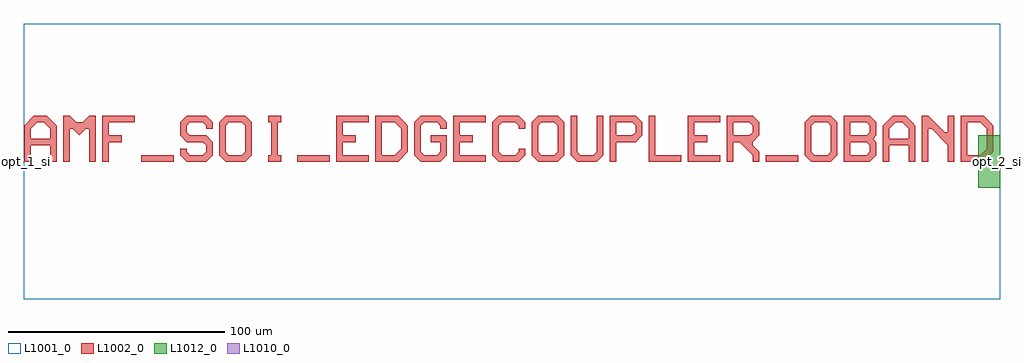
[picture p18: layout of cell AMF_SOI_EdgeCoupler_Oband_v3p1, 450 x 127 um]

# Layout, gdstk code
import gdstk
lib = gdstk.Library(unit=1e-6, precision=1e-09)
def R(c, l, rs):  # rectangles x0, y0, x1, y1
    for r in rs: c.add(gdstk.rectangle(r[:2], r[2:], *l))
def P(c, l, *ps):  # polygons
    for p in ps: c.add(gdstk.Polygon(p, *l))
L1001_0 = (1001, 0)
L1002_0 = (1002, 0)
L1010_0 = (1010, 0)
L1012_0 = (1012, 0)

amf_soi_edgecoupler_oban = lib.new_cell('AMF_SOI_EdgeCoupler_Oband_v3p1')
R(amf_soi_edgecoupler_oban, L1001_0, [(0,-63.5,450,63.5)])
R(amf_soi_edgecoupler_oban, L1002_0, [(54.001,-0.01,69.001,2.99), (126.001,-0.01,141.001,2.99), (342.001,-0.01,357.001,2.99)])
P(amf_soi_edgecoupler_oban, L1002_0, [(0.001,-0.01),(0.001,16.49),(4.501,20.99),(10.501,20.99),(13.501,17.99),(6.001,17.99),(3.001,14.99),(3.001,10.49),(12.001,10.49),(12.001,14.99),(9.001,17.99),(13.501,17.99),(15.001,16.49),(15.001,-0.01),(12.001,-0.01),(12.001,7.49),(3.001,7.49),(3.001,-0.01)],
  [(18.001,-0.01),(18.001,20.99),(21.001,20.99),(24.001,17.99),(27.001,17.99),(30.001,20.99),(33.001,20.99),(33.001,-0.01),(30.001,-0.01),(30.001,14.99),(28.501,14.99),(25.501,11.99),(22.501,14.99),(21.001,14.99),(21.001,-0.01)],
  [(36.001,-0.01),(36.001,20.99),(51.001,20.99),(51.001,17.99),(39.001,17.99),(39.001,11.99),(45.001,11.99),(45.001,8.99),(39.001,8.99),(39.001,-0.01)],
  [(75.001,-0.01),(72.001,2.99),(72.001,5.99),(75.001,5.99),(75.001,4.49),(76.501,2.99),(82.501,2.99),(84.001,4.49),(84.001,7.49),(82.501,8.99),(75.001,8.99),(72.001,11.99),(72.001,17.99),(75.001,20.99),(84.001,20.99),(87.001,17.99),(87.001,14.99),(84.001,14.99),(84.001,16.49),(82.501,17.99),(76.501,17.99),(75.001,16.49),(75.001,13.49),(76.501,11.99),(84.001,11.99),(87.001,8.99),(87.001,2.99),(84.001,-0.01)],
  [(93.001,-0.01),(90.001,2.99),(90.001,17.99),(93.001,20.99),(102.001,20.99),(105.001,17.99),(105.001,10.49),(102.001,10.49),(102.001,16.49),(100.501,17.99),(94.501,17.99),(93.001,16.49),(93.001,4.49),(94.501,2.99),(100.501,2.99),(102.001,4.49),(102.001,10.49),(105.001,10.49),(105.001,2.99),(102.001,-0.01)],
  [(112.501,-0.01),(112.501,2.99),(114.001,2.99),(114.001,17.99),(112.501,17.99),(112.501,20.99),(118.501,20.99),(118.501,17.99),(117.001,17.99),(117.001,2.99),(118.501,2.99),(118.501,-0.01)],
  [(144.001,-0.01),(144.001,20.99),(159.001,20.99),(159.001,17.99),(147.001,17.99),(147.001,11.99),(153.001,11.99),(153.001,8.99),(147.001,8.99),(147.001,2.99),(159.001,2.99),(159.001,-0.01)],
  [(162.001,-0.01),(162.001,20.99),(172.501,20.99),(175.501,17.99),(165.001,17.99),(165.001,2.99),(171.001,2.99),(174.001,5.99),(174.001,14.99),(171.001,17.99),(175.501,17.99),(177.001,16.49),(177.001,4.49),(172.501,-0.01)],
  [(183.001,-0.01),(180.001,2.99),(180.001,17.99),(183.001,20.99),(192.001,20.99),(195.001,17.99),(195.001,14.99),(192.001,14.99),(192.001,16.49),(190.501,17.99),(184.501,17.99),(183.001,16.49),(183.001,4.49),(184.501,2.99),(190.501,2.99),(192.001,4.49),(192.001,8.99),(187.501,8.99),(187.501,11.99),(195.001,11.99),(195.001,2.99),(192.001,-0.01)],
  [(198.001,-0.01),(198.001,20.99),(213.001,20.99),(213.001,17.99),(201.001,17.99),(201.001,11.99),(207.001,11.99),(207.001,8.99),(201.001,8.99),(201.001,2.99),(213.001,2.99),(213.001,-0.01)],
  [(219.001,-0.01),(216.001,2.99),(216.001,17.99),(219.001,20.99),(228.001,20.99),(231.001,17.99),(231.001,14.99),(228.001,14.99),(228.001,16.49),(226.501,17.99),(220.501,17.99),(219.001,16.49),(219.001,4.49),(220.501,2.99),(226.501,2.99),(228.001,4.49),(228.001,5.99),(231.001,5.99),(231.001,2.99),(228.001,-0.01)],
  [(237.001,-0.01),(234.001,2.99),(234.001,17.99),(237.001,20.99),(246.001,20.99),(249.001,17.99),(249.001,10.49),(246.001,10.49),(246.001,16.49),(244.501,17.99),(238.501,17.99),(237.001,16.49),(237.001,4.49),(238.501,2.99),(244.501,2.99),(246.001,4.49),(246.001,10.49),(249.001,10.49),(249.001,2.99),(246.001,-0.01)],
  [(255.001,-0.01),(252.001,2.99),(252.001,20.99),(255.001,20.99),(255.001,4.49),(256.501,2.99),(262.501,2.99),(264.001,4.49),(264.001,20.99),(267.001,20.99),(267.001,2.99),(264.001,-0.01)],
  [(270.001,-0.01),(270.001,20.99),(282.001,20.99),(285.001,17.99),(285.001,11.99),(282.001,8.99),(273.001,8.99),(273.001,11.99),(280.501,11.99),(282.001,13.49),(282.001,16.49),(280.501,17.99),(273.001,17.99),(273.001,-0.01)],
  [(288.001,-0.01),(288.001,20.99),(291.001,20.99),(291.001,2.99),(303.001,2.99),(303.001,-0.01)],
  [(306.001,-0.01),(306.001,20.99),(321.001,20.99),(321.001,17.99),(309.001,17.99),(309.001,11.99),(315.001,11.99),(315.001,8.99),(309.001,8.99),(309.001,2.99),(321.001,2.99),(321.001,-0.01)],
  [(324.001,-0.01),(324.001,20.99),(336.001,20.99),(339.001,17.99),(327.001,17.99),(327.001,11.99),(334.501,11.99),(336.001,13.49),(336.001,16.49),(334.501,17.99),(339.001,17.99),(339.001,11.99),(336.001,8.99),(336.001,7.49),(339.001,4.49),(339.001,-0.01),(336.001,-0.01),(336.001,2.99),(330.001,8.99),(327.001,8.99),(327.001,-0.01)],
  [(363.001,-0.01),(360.001,2.99),(360.001,17.99),(363.001,20.99),(372.001,20.99),(375.001,17.99),(375.001,10.49),(372.001,10.49),(372.001,16.49),(370.501,17.99),(364.501,17.99),(363.001,16.49),(363.001,4.49),(364.501,2.99),(370.501,2.99),(372.001,4.49),(372.001,10.49),(375.001,10.49),(375.001,2.99),(372.001,-0.01)],
  [(378.001,-0.01),(378.001,20.99),(390.001,20.99),(393.001,17.99),(381.001,17.99),(381.001,11.99),(388.501,11.99),(390.001,13.49),(390.001,16.49),(388.501,17.99),(393.001,17.99),(393.001,11.99),(391.501,10.49),(393.001,8.99),(381.001,8.99),(381.001,2.99),(388.501,2.99),(390.001,4.49),(390.001,7.49),(388.501,8.99),(393.001,8.99),(393.001,2.99),(390.001,-0.01)],
  [(396.001,-0.01),(396.001,16.49),(400.501,20.99),(406.501,20.99),(409.501,17.99),(402.001,17.99),(399.001,14.99),(399.001,10.49),(408.001,10.49),(408.001,14.99),(405.001,17.99),(409.501,17.99),(411.001,16.49),(411.001,-0.01),(408.001,-0.01),(408.001,7.49),(399.001,7.49),(399.001,-0.01)],
  [(414.001,-0.01),(414.001,20.99),(417.001,20.99),(424.501,13.49),(426.001,13.49),(426.001,20.99),(429.001,20.99),(429.001,-0.01),(426.001,-0.01),(426.001,7.49),(418.501,14.99),(417.001,14.99),(417.001,-0.01)],
  [(432.001,-0.01),(432.001,20.99),(442.501,20.99),(445.501,17.99),(435.001,17.99),(435.001,2.99),(441.001,2.99),(444.001,5.99),(444.001,14.99),(441.001,17.99),(445.501,17.99),(447.001,16.49),(447.001,4.49),(442.501,-0.01)])
R(amf_soi_edgecoupler_oban, L1010_0, [(0,-0.205,0.41,0.205)])
R(amf_soi_edgecoupler_oban, L1012_0, [(440,-12,450,12)])
amf_soi_edgecoupler_oban.add(gdstk.Label('opt_2_si', (450,0), layer=1012, texttype=0))
amf_soi_edgecoupler_oban.add(gdstk.Label('opt_1_si', (0,0), layer=1010, texttype=0))

lib.write_gds('AMF_SOI_EdgeCoupler_Oband_v3p1.gds')
